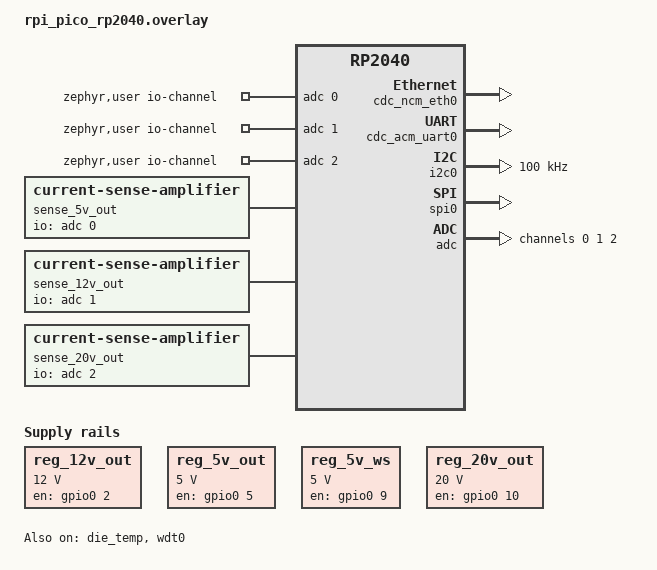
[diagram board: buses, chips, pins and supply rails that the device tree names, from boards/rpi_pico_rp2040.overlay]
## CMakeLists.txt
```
# SPDX-License-Identifier: Apache-2.0

cmake_minimum_required(VERSION 3.20.0)

find_package(Zephyr REQUIRED HINTS $ENV{ZEPHYR_BASE})
project(agent_debugboard)

zephyr_linker_sources(SECTIONS sections-rom.ld)
zephyr_linker_section(NAME http_resource_desc_debugboard_http_service
  KVMA RAM_REGION GROUP RODATA_REGION)

target_sources(app PRIVATE
  src/main.c
  src/debugboard_control.c
  src/debugboard_http.c
  src/debugboard_monitoring.c
  src/debugboard_model.c
  src/debugboard_network.c
  src/debugboard_shell.c
  src/debugboard_ws.c
  src/debugboard_usb_net.c
)
```

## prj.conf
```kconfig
CONFIG_GPIO=y
CONFIG_ADC=y
CONFIG_SENSOR=y
CONFIG_CURRENT_AMP=y
CONFIG_REGULATOR=y
CONFIG_REGULATOR_FIXED=y
CONFIG_I2C=y
CONFIG_SPI=y

CONFIG_USB_DEVICE_STACK_NEXT=y
CONFIG_USBD_CDC_NCM_CLASS=y
CONFIG_USBD_CDC_ACM_CLASS=y
CONFIG_HWINFO=y
CONFIG_WATCHDOG=y

CONFIG_NETWORKING=y
CONFIG_NET_LOG=y
CONFIG_NET_L2_ETHERNET=y
CONFIG_NET_IPV4=y
CONFIG_NET_TCP=y
CONFIG_NET_SOCKETS=y
CONFIG_NET_DHCPV4_SERVER=y
CONFIG_NET_TCP_TIME_WAIT_DELAY=0
CONFIG_NET_CONFIG_SETTINGS=y
CONFIG_NET_CONFIG_AUTO_INIT=n
CONFIG_NET_CONFIG_MY_IPV4_ADDR="172.29.203.1"
CONFIG_NET_CONFIG_PEER_IPV4_ADDR="172.29.203.2"
CONFIG_NET_CONFIG_MY_IPV4_GW="172.29.203.2"
CONFIG_NET_DHCPV4_SERVER_ADDR_COUNT=1
CONFIG_NET_DHCPV4_SERVER_OPTION_ROUTER=y
CONFIG_NET_DHCPV4_SERVER_OPTION_DNS_ADDRESS="172.29.203.1"
CONFIG_NET_PKT_RX_COUNT=16
CONFIG_NET_PKT_TX_COUNT=16
CONFIG_NET_BUF_RX_COUNT=64
CONFIG_NET_BUF_TX_COUNT=64
CONFIG_NET_BUF_DATA_SIZE=256
CONFIG_NET_MAX_CONTEXTS=16
CONFIG_NET_MAX_CONN=16
CONFIG_NET_TC_TX_COUNT=1

CONFIG_HTTP_SERVER=y
CONFIG_HTTP_SERVER_VERSION_1=y
CONFIG_HTTP_SERVER_VERSION_2=n
CONFIG_HTTP_SERVER_VERSION_3=n
CONFIG_HTTP_SERVER_MAX_CLIENTS=6
CONFIG_HTTP_SERVER_CLIENT_BUFFER_SIZE=512
CONFIG_HTTP_SERVER_MAX_URL_LENGTH=128
CONFIG_HTTP_SERVER_MAX_HEADER_LEN=128
CONFIG_HTTP_SERVER_WEBSOCKET=y
CONFIG_RPI_PICO_TEMP=y
CONFIG_CPU_LOAD=y
CONFIG_SYS_HEAP_RUNTIME_STATS=y
CONFIG_THREAD_RUNTIME_STATS=y

CONFIG_JSON_LIBRARY=y
CONFIG_TEST_RANDOM_GENERATOR=y

CONFIG_SERIAL=y
CONFIG_ZVFS_OPEN_MAX=32
CONFIG_ZVFS_EVENTFD_MAX=8
CONFIG_ZVFS_POLL_MAX=16
CONFIG_CONSOLE=y
CONFIG_UART_CONSOLE=y
CONFIG_UART_INTERRUPT_DRIVEN=y
CONFIG_UART_LINE_CTRL=y
CONFIG_SHELL=y
CONFIG_SHELL_BACKEND_SERIAL=y
CONFIG_SHELL_PROMPT_UART="debugboard:~$ "

CONFIG_LOG=y
CONFIG_LOG_DEFAULT_LEVEL=2
CONFIG_BOOT_BANNER=n
CONFIG_MAIN_STACK_SIZE=3072
CONFIG_SYSTEM_WORKQUEUE_STACK_SIZE=2048
CONFIG_INIT_STACKS=y
CONFIG_THREAD_NAME=y
CONFIG_STACK_SENTINEL=y
CONFIG_HEAP_MEM_POOL_SIZE=8192
```

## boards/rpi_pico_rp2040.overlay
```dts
#include <zephyr/dt-bindings/adc/adc.h>
#include <zephyr/dt-bindings/gpio/gpio.h>
#include <zephyr/dt-bindings/i2c/i2c.h>
#include <zephyr/dt-bindings/pinctrl/rpi-pico-rp2040-pinctrl.h>

/ {
	chosen {
		zephyr,console = &cdc_acm_uart0;
		zephyr,shell-uart = &cdc_acm_uart0;
		agent-debugboard-temperature-sensor = &die_temp;
	};

	zephyr,user {
		/*
		 * Raw ADC taps for current monitor debugging.
		 * GP26/ADC0 = S_C_5V, GP27/ADC1 = S_C_12V, GP28/ADC2 = S_C_20V.
		 */
		io-channels = <&adc 0>, <&adc 1>, <&adc 2>;
	};

	reg_12v_out: regulator-12v-out {
		compatible = "regulator-fixed";
		regulator-name = "12v_out";
		regulator-min-microvolt = <12000000>;
		regulator-max-microvolt = <12000000>;
		enable-gpios = <&gpio0 2 GPIO_ACTIVE_HIGH>;
		regulator-boot-off;
	};

	reg_5v_out: regulator-5v-out {
		compatible = "regulator-fixed";
		regulator-name = "5v_out";
		regulator-min-microvolt = <5000000>;
		regulator-max-microvolt = <5000000>;
		enable-gpios = <&gpio0 5 GPIO_ACTIVE_HIGH>;
		regulator-boot-off;
	};

	reg_5v_ws: regulator-5v-ws {
		compatible = "regulator-fixed";
		regulator-name = "5v_ws";
		regulator-min-microvolt = <5000000>;
		regulator-max-microvolt = <5000000>;
		enable-gpios = <&gpio0 9 GPIO_ACTIVE_HIGH>;
		regulator-boot-off;
	};

	reg_20v_out: regulator-20v-out {
		compatible = "regulator-fixed";
		regulator-name = "20v_out";
		regulator-min-microvolt = <20000000>;
		regulator-max-microvolt = <20000000>;
		enable-gpios = <&gpio0 10 GPIO_ACTIVE_HIGH>;
		regulator-boot-off;
	};

	/*
	 * Board current monitors use INA139 with a 10 mOhm shunt and a
	 * 51 kOhm output load resistor. The INA139 datasheet transfer function is:
	 *
	 *   Vout = Is * Rs * RL / 1 kOhm
	 *
	 * The real hardware gain is therefore RL / 1 kOhm = 51, giving an
	 * effective scale of 10 mOhm * 51 = 510 mV/A.
	 *
	 * Represent that directly in Zephyr's current-sense-amplifier binding and
	 * keep additional board-specific calibration out of the host path.
	 */
	sense_5v_out: current-sense-5v-out {
		compatible = "current-sense-amplifier";
		io-channels = <&adc 0>;
		sense-resistor-milli-ohms = <10>;
		sense-gain-mult = <51>;
		sense-gain-div = <1>;
	};

	sense_12v_out: current-sense-12v-out {
		compatible = "current-sense-amplifier";
		io-channels = <&adc 1>;
		sense-resistor-milli-ohms = <10>;
		sense-gain-mult = <51>;
		sense-gain-div = <1>;
	};

	sense_20v_out: current-sense-20v-out {
		compatible = "current-sense-amplifier";
		io-channels = <&adc 2>;
		sense-resistor-milli-ohms = <10>;
		sense-gain-mult = <51>;
		sense-gain-div = <1>;
	};
};

&zephyr_udc0 {
	cdc_ncm_eth0: cdc_ncm_eth0 {
		compatible = "zephyr,cdc-ncm-ethernet";
		remote-mac-address = "00005E005301";
		local-mac-address = [ 02 2f e3 db 00 01 ];
	};

	cdc_acm_uart0: cdc_acm_uart0 {
		compatible = "zephyr,cdc-acm-uart";
		label = "Agent DebugBoard USB CDC ACM";
	};
};

/* The board uses GP05 for 5V_OUT enable. Do not keep Pico's default I2C0
 * assignment on GP04/GP05.
 */
&pinctrl {
	i2c0_debugboard_j17: i2c0_debugboard_j17 {
		group1 {
			pinmux = <I2C0_SDA_P20>, <I2C0_SCL_P21>;
			input-enable;
			input-schmitt-enable;
		};
	};
};

&i2c0 {
	status = "okay";
	clock-frequency = <I2C_BITRATE_STANDARD>;
	pinctrl-0 = <&i2c0_debugboard_j17>;
	pinctrl-names = "default";
};

&spi0 {
	status = "okay";
	pinctrl-0 = <&spi0_default>;
	pinctrl-names = "default";
};

&adc {
	status = "okay";
	#address-cells = <1>;
	#size-cells = <0>;

	channel@0 {
		reg = <0>;
		zephyr,gain = "ADC_GAIN_1";
		zephyr,reference = "ADC_REF_INTERNAL";
		zephyr,acquisition-time = <ADC_ACQ_TIME_DEFAULT>;
		zephyr,resolution = <12>;
	};

	channel@1 {
		reg = <1>;
		zephyr,gain = "ADC_GAIN_1";
		zephyr,reference = "ADC_REF_INTERNAL";
		zephyr,acquisition-time = <ADC_ACQ_TIME_DEFAULT>;
		zephyr,resolution = <12>;
	};

	channel@2 {
		reg = <2>;
		zephyr,gain = "ADC_GAIN_1";
		zephyr,reference = "ADC_REF_INTERNAL";
		zephyr,acquisition-time = <ADC_ACQ_TIME_DEFAULT>;
		zephyr,resolution = <12>;
	};
};

&die_temp {
	status = "okay";
};

&wdt0 {
	status = "okay";
};
```

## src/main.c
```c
/*
 * SPDX-License-Identifier: Apache-2.0
 *
 * agent-debugboard RP2040 controller firmware.
 */

#include "debugboard_control.h"
#include "debugboard_http.h"
#include "debugboard_network.h"
#include "debugboard_shell.h"
#include "debugboard_ws.h"
#include "debugboard_usb_net.h"

#include <zephyr/kernel.h>
#include <zephyr/logging/log.h>
#include <zephyr/logging/log_ctrl.h>
#include <zephyr/net/http/server.h>
#include <zephyr/sys/printk.h>
#include <zephyr/fatal.h>
#include <zephyr/toolchain.h>

LOG_MODULE_REGISTER(agent_debugboard, LOG_LEVEL_INF);

static const char *debugboard_fatal_reason_str(unsigned int reason)
{
	switch (reason) {
	case K_ERR_CPU_EXCEPTION:
		return "CPU exception";
	case K_ERR_SPURIOUS_IRQ:
		return "spurious IRQ";
	case K_ERR_STACK_CHK_FAIL:
		return "stack overflow";
	case K_ERR_KERNEL_OOPS:
		return "kernel oops";
	case K_ERR_KERNEL_PANIC:
		return "kernel panic";
	default:
		return "unknown";
	}
}

void k_sys_fatal_error_handler(unsigned int reason, const struct arch_esf *esf)
{
	const char *thread_name = k_thread_name_get(k_current_get());

	if (thread_name == NULL || thread_name[0] == '\0') {
		thread_name = "?";
	}

	printk("FATAL: %s (code=%u) thread=%s uptime=%lldms\n",
	       debugboard_fatal_reason_str(reason), reason, thread_name,
	       (long long)k_uptime_get());

	LOG_PANIC();
	LOG_ERR("Halting system");
	k_fatal_halt(reason);
	CODE_UNREACHABLE;
}

int main(void)
{
	int ret;

	debugboard_watchdog_boot_check();

	ret = debugboard_control_init();
	if (ret < 0) {
		LOG_ERR("Board control init failed: %d", ret);
		return 0;
	}

	debugboard_http_init();
	ret = debugboard_ws_init();
	if (ret < 0) {
		LOG_ERR("WebSocket init failed: %d", ret);
		return 0;
	}

	ret = debugboard_usb_net_init();
	if (ret < 0) {
		LOG_ERR("USB NCM init failed: %d", ret);
		return 0;
	}

	ret = debugboard_network_init();
	if (ret < 0) {
		LOG_ERR("Network service init failed: %d", ret);
		return 0;
	}

	ret = http_server_start();
	if (ret < 0) {
		LOG_ERR("HTTP server start failed: %d", ret);
		return 0;
	}

	debugboard_shell_watchdog_start();

	ret = debugboard_watchdog_supervisor_start();
	if (ret < 0) {
		LOG_ERR("Watchdog supervisor start failed: %d", ret);
		return 0;
	}

	LOG_INF("agent-debugboard controller ready over NCM HTTP with CDC ACM fallback");

	while (true) {
		debugboard_watchdog_note_core_alive();
		k_sleep(K_MSEC(250));
	}
}
```

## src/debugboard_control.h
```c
/*
 * SPDX-License-Identifier: Apache-2.0
 */

#ifndef AGENT_DEBUGBOARD_CONTROL_H_
#define AGENT_DEBUGBOARD_CONTROL_H_

#include "debugboard_model.h"

#include <stdbool.h>
#include <stdint.h>

#include <zephyr/drivers/sensor.h>

enum debugboard_sd_route {
	DEBUGBOARD_SD_ROUTE_TARGET = 0,
	DEBUGBOARD_SD_ROUTE_USB_READER = 1,
};

enum debugboard_usb_route {
	DEBUGBOARD_USB_ROUTE_PC = 0,
	DEBUGBOARD_USB_ROUTE_TARGET = 1,
};

struct debugboard_current_sample {
	bool rail_enabled;
	bool raw_available;
	int32_t raw;
	int32_t mv;
	int32_t current_ua;
	struct sensor_value value;
};

struct debugboard_watchdog_status {
	bool supported;
	bool armed;
	bool automatic;
	bool healthy;
	uint32_t timeout_ms;
	bool bootloader_on_timeout;
	const char *failing_service;
};

void debugboard_watchdog_boot_check(void);
int debugboard_control_init(void);
int debugboard_watchdog_supervisor_start(void);

const char *debugboard_json_schema(void);
const char *debugboard_reserved_gpios(void);
const char *debugboard_usb_mode(void);

bool debugboard_power_output_enabled(const struct debugboard_rail_desc *rail);
int debugboard_power_output_set(const struct debugboard_rail_desc *rail, bool enabled);

enum debugboard_sd_route debugboard_sd_route_get(void);
const char *debugboard_sd_route_name(void);
int debugboard_sd_route_set(enum debugboard_sd_route route);

enum debugboard_usb_route debugboard_usb_route_get(void);
const char *debugboard_usb_route_name(void);
int debugboard_usb_route_set(enum debugboard_usb_route route);

int debugboard_current_read(const struct debugboard_current_desc *current,
				   struct debugboard_current_sample *sample);

int debugboard_gpio_get(const struct debugboard_safe_gpio_desc *desc, int *value);
int debugboard_gpio_set_output(const struct debugboard_safe_gpio_desc *desc, bool value);
int debugboard_gpio_set_input(const struct debugboard_safe_gpio_desc *desc);
const char *debugboard_safe_gpio_direction_name(size_t index);

void debugboard_watchdog_status_get(struct debugboard_watchdog_status *status);
void debugboard_watchdog_note_core_alive(void);
void debugboard_watchdog_note_cmdline_alive(void);
void debugboard_watchdog_note_ws_alive(void);
void debugboard_watchdog_note_ws_client_active(bool active);

int debugboard_bootloader_now(void);

#endif /* AGENT_DEBUGBOARD_CONTROL_H_ */
```

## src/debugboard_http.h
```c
/*
 * SPDX-License-Identifier: Apache-2.0
 */

#ifndef AGENT_DEBUGBOARD_HTTP_H_
#define AGENT_DEBUGBOARD_HTTP_H_

#include <stdint.h>

void debugboard_http_init(void);
void debugboard_http_publish_state_change(void);
int debugboard_http_listener_fd(void);
uint16_t debugboard_http_listener_port(void);
const char *debugboard_http_listener_host(void);

#endif /* AGENT_DEBUGBOARD_HTTP_H_ */
```

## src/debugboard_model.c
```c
/*
 * SPDX-License-Identifier: Apache-2.0
 */

#include "debugboard_model.h"

#include <ctype.h>
#include <errno.h>
#include <stdio.h>
#include <stdlib.h>
#include <string.h>

#define ARRAY_SIZE_LOCAL(array) (sizeof(array) / sizeof((array)[0]))
#define INA139_SENSOR "INA139"

const struct debugboard_rail_desc debugboard_rails[] = {
	{
		.name = "12v_out",
		.signal = "GP02_12V_EN",
		.pin = 2,
		.controllable = true,
	},
	{
		.name = "5v_out",
		.signal = "GP05_5V_EN",
		.pin = 5,
		.controllable = true,
	},
	{
		.name = "5v_ws",
		.signal = "GP09_5V_WS_EN",
		.pin = 9,
		.controllable = true,
	},
	{
		.name = "20v_out",
		.signal = "GP10_20V_EN",
		.pin = 10,
		.controllable = true,
	},
};

const size_t debugboard_rail_count = ARRAY_SIZE_LOCAL(debugboard_rails);

const struct debugboard_current_desc debugboard_currents[] = {
	{
		.name = "5v_out",
		.signal = "S_C_5V",
		.sensor = INA139_SENSOR,
		.adc_index = 0,
	},
	{
		.name = "12v_out",
		.signal = "S_C_12V",
		.sensor = INA139_SENSOR,
		.adc_index = 1,
	},
	{
		.name = "20v_out",
		.signal = "S_C_20V",
		.sensor = INA139_SENSOR,
		.adc_index = 2,
	},
};

const size_t debugboard_current_count = ARRAY_SIZE_LOCAL(debugboard_currents);

const struct debugboard_safe_gpio_desc debugboard_safe_gpios[] = {
	{ .pin = 4,  .note = "CON_MAS" },
	{ .pin = 7,  .note = "CON_REST" },
	{ .pin = 8,  .note = "CON_USER" },
	{ .pin = 13, .note = "J17_PIN1" },
	{ .pin = 14, .note = "J17_PIN3" },
	{ .pin = 15, .note = "J17_PIN5" },
	{ .pin = 16, .note = "J17_PIN7" },
	{ .pin = 17, .note = "J17_PIN9" },
	{ .pin = 18, .note = "J17_PIN11" },
	{ .pin = 19, .note = "J17_PIN2" },
	{ .pin = 20, .note = "J17_PIN4" },
	{ .pin = 21, .note = "J17_PIN6" },
	{ .pin = 22, .note = "J17_PIN8" },
	{ .pin = 23, .note = "J17_PIN10" },
	{ .pin = 24, .note = "J17_PIN12" },
};

const size_t debugboard_safe_gpio_count = ARRAY_SIZE_LOCAL(debugboard_safe_gpios);

static bool streq(const char *a, const char *b)
{
	return strcmp(a, b) == 0;
}

bool debugboard_parse_bool_arg(const char *arg, bool *value)
{
	if (arg == NULL || value == NULL) {
		return false;
	}

	if (streq(arg, "1") || streq(arg, "on") || streq(arg, "enable") ||
	    streq(arg, "enabled")) {
		*value = true;
		return true;
	}

	if (streq(arg, "0") || streq(arg, "off") || streq(arg, "disable") ||
	    streq(arg, "disabled")) {
		*value = false;
		return true;
	}

	return false;
}

bool debugboard_parse_gpio_pin(const char *arg, uint8_t *pin)
{
	const char *p;
	char *end = NULL;
	unsigned long parsed;

	if (arg == NULL || pin == NULL) {
		return false;
	}

	p = arg;
	if ((arg[0] == 'G' || arg[0] == 'g') && (arg[1] == 'P' || arg[1] == 'p')) {
		p = &arg[2];
	}

	if (*p == '\0') {
		return false;
	}

	for (const char *s = p; *s != '\0'; s++) {
		if (!isdigit((unsigned char)*s)) {
			return false;
		}
	}

	errno = 0;
	parsed = strtoul(p, &end, 10);
	if (errno != 0 || end == p || *end != '\0' || parsed > 29) {
		return false;
	}

	*pin = (uint8_t)parsed;
	return true;
}

bool debugboard_format_gpio_name(uint8_t pin, char *buf, size_t len)
{
	int written;

	if (buf == NULL || len == 0) {
		return false;
	}

	written = snprintf(buf, len, "GP%u", (unsigned int)pin);
	return written > 0 && (size_t)written < len;
}

const struct debugboard_rail_desc *debugboard_find_rail(const char *name)
{
	if (name == NULL) {
		return NULL;
	}

	for (size_t i = 0; i < debugboard_rail_count; i++) {
		if (streq(name, debugboard_rails[i].name) ||
		    streq(name, debugboard_rails[i].signal)) {
			return &debugboard_rails[i];
		}
	}

	return NULL;
}

const struct debugboard_current_desc *debugboard_find_current(const char *name)
{
	if (name == NULL) {
		return NULL;
	}

	for (size_t i = 0; i < debugboard_current_count; i++) {
		if (streq(name, debugboard_currents[i].name) ||
		    streq(name, debugboard_currents[i].signal)) {
			return &debugboard_currents[i];
		}
	}

	return NULL;
}

const struct debugboard_safe_gpio_desc *debugboard_find_safe_gpio_by_pin(uint8_t pin)
{
	for (size_t i = 0; i < debugboard_safe_gpio_count; i++) {
		if (debugboard_safe_gpios[i].pin == pin) {
			return &debugboard_safe_gpios[i];
		}
	}

	return NULL;
}

const struct debugboard_safe_gpio_desc *debugboard_find_safe_gpio_by_identifier(const char *identifier)
{
	uint8_t pin;

	if (identifier == NULL) {
		return NULL;
	}

	if (debugboard_parse_gpio_pin(identifier, &pin)) {
		return debugboard_find_safe_gpio_by_pin(pin);
	}

	for (size_t i = 0; i < debugboard_safe_gpio_count; i++) {
		if (streq(identifier, debugboard_safe_gpios[i].note)) {
			return &debugboard_safe_gpios[i];
		}
	}

	return NULL;
}
```

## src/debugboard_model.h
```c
/*
 * SPDX-License-Identifier: Apache-2.0
 */

#ifndef AGENT_DEBUGBOARD_MODEL_H_
#define AGENT_DEBUGBOARD_MODEL_H_

#include <stdbool.h>
#include <stddef.h>
#include <stdint.h>

struct debugboard_rail_desc {
	const char *name;
	const char *signal;
	uint8_t pin;
	bool controllable;
};

struct debugboard_current_desc {
	const char *name;
	const char *signal;
	const char *sensor;
	size_t adc_index;
};

struct debugboard_safe_gpio_desc {
	uint8_t pin;
	const char *note;
};

#define DEBUGBOARD_GPIO_NAME_BUFSZ 5

extern const struct debugboard_rail_desc debugboard_rails[];
extern const size_t debugboard_rail_count;

extern const struct debugboard_current_desc debugboard_currents[];
extern const size_t debugboard_current_count;

extern const struct debugboard_safe_gpio_desc debugboard_safe_gpios[];
extern const size_t debugboard_safe_gpio_count;

bool debugboard_parse_bool_arg(const char *arg, bool *value);
bool debugboard_parse_gpio_pin(const char *arg, uint8_t *pin);
bool debugboard_format_gpio_name(uint8_t pin, char *buf, size_t len);

const struct debugboard_rail_desc *debugboard_find_rail(const char *name);
const struct debugboard_current_desc *debugboard_find_current(const char *name);
const struct debugboard_safe_gpio_desc *debugboard_find_safe_gpio_by_pin(uint8_t pin);
const struct debugboard_safe_gpio_desc *debugboard_find_safe_gpio_by_identifier(const char *identifier);

#endif /* AGENT_DEBUGBOARD_MODEL_H_ */
```

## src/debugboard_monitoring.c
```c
/*
 * SPDX-License-Identifier: Apache-2.0
 */

#include "debugboard_monitoring.h"

#include <errno.h>
#include <string.h>

#include <zephyr/device.h>
#include <zephyr/debug/cpu_load.h>
#include <zephyr/devicetree.h>
#include <zephyr/kernel.h>
#include <zephyr/sys/util.h>

#if defined(CONFIG_SENSOR)
#include <zephyr/drivers/sensor.h>
#endif

#if defined(CONFIG_SYS_HEAP_RUNTIME_STATS)
#include <zephyr/sys/mem_stats.h>
#include <zephyr/sys/sys_heap.h>
#endif

#if defined(CONFIG_SYS_HEAP_RUNTIME_STATS) && defined(CONFIG_HEAP_MEM_POOL_SIZE) && \
	(CONFIG_HEAP_MEM_POOL_SIZE > 0)
extern struct k_heap _system_heap;
#endif

#if defined(CONFIG_SENSOR) && DT_HAS_CHOSEN(agent_debugboard_temperature_sensor)
#define DEBUGBOARD_TEMPERATURE_NODE DT_CHOSEN(agent_debugboard_temperature_sensor)
static const struct device *const debugboard_temperature_device =
	DEVICE_DT_GET(DEBUGBOARD_TEMPERATURE_NODE);
#endif

static struct k_mutex debugboard_monitoring_lock;
#if defined(CONFIG_CPU_LOAD)
static bool debugboard_cpu_previous_valid;
static int64_t debugboard_cpu_previous_uptime_ms;
#endif

static void debugboard_monitoring_temperature_get(
	struct debugboard_monitoring_temperature *temperature)
{
	temperature->available = false;
	temperature->reason = "no_zephyr_temperature_device";
	temperature->source = "";
	temperature->celsius_val1 = 0;
	temperature->celsius_val2 = 0;
	temperature->error = 0;

#if defined(CONFIG_SENSOR) && DT_HAS_CHOSEN(agent_debugboard_temperature_sensor)
	struct sensor_value value;
	int ret;

	if (!device_is_ready(debugboard_temperature_device)) {
		temperature->reason = "device_not_ready";
		return;
	}

	ret = sensor_sample_fetch(debugboard_temperature_device);
	if (ret < 0) {
		temperature->reason = "sample_fetch_failed";
		temperature->error = ret;
		return;
	}

	ret = sensor_channel_get(debugboard_temperature_device, SENSOR_CHAN_DIE_TEMP, &value);
	if (ret < 0) {
		temperature->reason = ret == -ENOTSUP ? "temperature_channel_unsupported" :
					       "temperature_read_failed";
		temperature->error = ret;
		return;
	}

	temperature->available = true;
	temperature->reason = "";
	temperature->source = debugboard_temperature_device->name;
	temperature->celsius_val1 = value.val1;
	temperature->celsius_val2 = value.val2;
#elif !defined(CONFIG_SENSOR)
	temperature->reason = "sensor_subsystem_disabled";
#endif
}

static void debugboard_monitoring_heap_get(struct debugboard_monitoring_heap *heap)
{
	heap->available = false;
	heap->reason = "runtime_stats_disabled";
	heap->source = "";
	heap->free_bytes = 0U;
	heap->allocated_bytes = 0U;
	heap->max_allocated_bytes = 0U;
	heap->total_bytes = 0U;
	heap->error = 0;

#if defined(CONFIG_SYS_HEAP_RUNTIME_STATS) && defined(CONFIG_HEAP_MEM_POOL_SIZE) && \
	(CONFIG_HEAP_MEM_POOL_SIZE > 0)
	struct sys_memory_stats stats;
	int ret;

	ret = sys_heap_runtime_stats_get(&_system_heap.heap, &stats);
	if (ret < 0) {
		heap->reason = "heap_stats_read_failed";
		heap->error = ret;
		return;
	}

	heap->available = true;
	heap->reason = "";
	heap->source = "system_heap";
	heap->free_bytes = stats.free_bytes;
	heap->allocated_bytes = stats.allocated_bytes;
	heap->max_allocated_bytes = stats.max_allocated_bytes;
	heap->total_bytes = stats.free_bytes + stats.allocated_bytes;
#elif defined(CONFIG_SYS_HEAP_RUNTIME_STATS)
	heap->reason = "system_heap_unavailable";
#endif
}

static void debugboard_monitoring_runtime_get(struct debugboard_monitoring_runtime *runtime)
{
	runtime->available = false;
	runtime->reason = "uptime_unavailable";
	runtime->uptime_ms = 0;
	runtime->uptime_seconds = 0U;
	runtime->error = 0;

	runtime->available = true;
	runtime->reason = "";
	runtime->uptime_ms = k_uptime_get();
	runtime->uptime_seconds = (uint64_t)(runtime->uptime_ms / 1000);
}

static void debugboard_monitoring_cpu_get(struct debugboard_monitoring_cpu *cpu)
{
	cpu->available = false;
	cpu->reason = "thread_runtime_stats_disabled";
	cpu->active_pct_x100 = 0U;
	cpu->window_ms = 0U;
	cpu->busy_cycles_delta = 0U;
	cpu->total_cycles_delta = 0U;
	cpu->error = 0;

	uint32_t load_per_mille;
	int64_t uptime_ms;
	uint32_t window_ms;

#if defined(CONFIG_CPU_LOAD)
	load_per_mille = cpu_load_get(true);

	uptime_ms = k_uptime_get();
	if (!debugboard_cpu_previous_valid) {
		debugboard_cpu_previous_valid = true;
		debugboard_cpu_previous_uptime_ms = uptime_ms;
		cpu->reason = "insufficient_runtime_window";
		return;
	}
	window_ms = uptime_ms > debugboard_cpu_previous_uptime_ms ?
		(uint32_t)(uptime_ms - debugboard_cpu_previous_uptime_ms) : 0U;
	debugboard_cpu_previous_uptime_ms = uptime_ms;
	if (window_ms == 0U) {
		cpu->reason = "insufficient_runtime_window";
		return;
	}

	cpu->available = true;
	cpu->reason = "";
	cpu->busy_cycles_delta = 0U;
	cpu->total_cycles_delta = 0U;
	cpu->active_pct_x100 = load_per_mille * 10U;
	cpu->window_ms = window_ms;
#else
	cpu->reason = "cpu_load_disabled";
#endif
}

void debugboard_monitoring_diagnostics_get(struct debugboard_monitoring_diagnostics *diagnostics)
{
	if (diagnostics == NULL) {
		return;
	}

	memset(diagnostics, 0, sizeof(*diagnostics));
	debugboard_monitoring_heap_get(&diagnostics->heap);
	debugboard_monitoring_runtime_get(&diagnostics->runtime);
}

void debugboard_monitoring_snapshot_get(struct debugboard_monitoring_snapshot *snapshot)
{
	if (snapshot == NULL) {
		return;
	}

	memset(snapshot, 0, sizeof(*snapshot));
	debugboard_monitoring_temperature_get(&snapshot->temperature);
	debugboard_monitoring_heap_get(&snapshot->heap);
	debugboard_monitoring_runtime_get(&snapshot->runtime);

	k_mutex_lock(&debugboard_monitoring_lock, K_FOREVER);
	debugboard_monitoring_cpu_get(&snapshot->cpu);
	k_mutex_unlock(&debugboard_monitoring_lock);
}

static int debugboard_monitoring_init(void)
{
	k_mutex_init(&debugboard_monitoring_lock);
	return 0;
}

SYS_INIT(debugboard_monitoring_init, APPLICATION, CONFIG_APPLICATION_INIT_PRIORITY);
```

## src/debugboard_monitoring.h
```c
/*
 * SPDX-License-Identifier: Apache-2.0
 */

#ifndef AGENT_DEBUGBOARD_MONITORING_H_
#define AGENT_DEBUGBOARD_MONITORING_H_

#include <stdbool.h>
#include <stddef.h>
#include <stdint.h>

struct debugboard_monitoring_temperature {
	bool available;
	const char *reason;
	const char *source;
	int32_t celsius_val1;
	int32_t celsius_val2;
	int error;
};

struct debugboard_monitoring_heap {
	bool available;
	const char *reason;
	const char *source;
	size_t free_bytes;
	size_t allocated_bytes;
	size_t max_allocated_bytes;
	size_t total_bytes;
	int error;
};

struct debugboard_monitoring_runtime {
	bool available;
	const char *reason;
	int64_t uptime_ms;
	uint64_t uptime_seconds;
	int error;
};

struct debugboard_monitoring_cpu {
	bool available;
	const char *reason;
	uint32_t active_pct_x100;
	uint32_t window_ms;
	uint64_t busy_cycles_delta;
	uint64_t total_cycles_delta;
	int error;
};

struct debugboard_monitoring_snapshot {
	struct debugboard_monitoring_temperature temperature;
	struct debugboard_monitoring_heap heap;
	struct debugboard_monitoring_runtime runtime;
	struct debugboard_monitoring_cpu cpu;
};

struct debugboard_monitoring_diagnostics {
	struct debugboard_monitoring_heap heap;
	struct debugboard_monitoring_runtime runtime;
};

void debugboard_monitoring_diagnostics_get(struct debugboard_monitoring_diagnostics *diagnostics);
void debugboard_monitoring_snapshot_get(struct debugboard_monitoring_snapshot *snapshot);

#endif /* AGENT_DEBUGBOARD_MONITORING_H_ */
```

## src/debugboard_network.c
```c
/*
 * SPDX-License-Identifier: Apache-2.0
 */

#include "debugboard_network.h"

#include <errno.h>

#include <zephyr/device.h>
#include <zephyr/devicetree.h>
#include <zephyr/logging/log.h>
#include <zephyr/net/dhcpv4_server.h>
#include <zephyr/net/net_if.h>
#include <zephyr/net/net_ip.h>

LOG_MODULE_REGISTER(debugboard_network, LOG_LEVEL_INF);

int debugboard_network_get_ncm_iface(struct net_if **iface)
{
	const struct device *dev = DEVICE_DT_GET(DT_NODELABEL(cdc_ncm_eth0));
	struct net_if *candidate;

	if (!device_is_ready(dev)) {
		return -ENODEV;
	}

	candidate = net_if_lookup_by_dev(dev);

	if (candidate == NULL) {
		return -ENODEV;
	}

	*iface = candidate;
	return 0;
}

int debugboard_network_init(void)
{
	struct net_if *iface;
	struct net_in_addr base_addr;
	int ret;

	ret = debugboard_network_get_ncm_iface(&iface);
	if (ret < 0) {
		LOG_ERR("No Ethernet/NCM interface found (%d)", ret);
		return ret;
	}

	ret = net_addr_pton(AF_INET, "172.29.203.10", &base_addr);
	if (ret < 0) {
		LOG_ERR("Invalid DHCP base address (%d)", ret);
		return ret;
	}

	ret = net_dhcpv4_server_start(iface, &base_addr);
	if (ret < 0) {
		LOG_ERR("Failed to start DHCPv4 server (%d)", ret);
		return ret;
	}

	LOG_INF("DHCPv4 server started from 172.29.203.10");
	return 0;
}

bool debugboard_network_has_preferred_ipv4(void)
{
	struct net_if *iface;

	if (debugboard_network_get_ncm_iface(&iface) < 0) {
		return false;
	}

	return net_if_ipv4_get_global_addr(iface, NET_ADDR_PREFERRED) != NULL;
}
```

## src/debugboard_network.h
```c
/*
 * SPDX-License-Identifier: Apache-2.0
 */

#ifndef AGENT_DEBUGBOARD_NETWORK_H_
#define AGENT_DEBUGBOARD_NETWORK_H_

#include <zephyr/net/net_if.h>

int debugboard_network_get_ncm_iface(struct net_if **iface);
bool debugboard_network_has_preferred_ipv4(void);
int debugboard_network_init(void);

#endif /* AGENT_DEBUGBOARD_NETWORK_H_ */
```

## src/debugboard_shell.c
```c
/*
 * SPDX-License-Identifier: Apache-2.0
 */

#include "debugboard_control.h"
#include "debugboard_shell.h"

#include <zephyr/kernel.h>
#include <zephyr/shell/shell.h>

static struct k_work_delayable debugboard_shell_watchdog_work;

static void debugboard_shell_watchdog_work_handler(struct k_work *work)
{
	ARG_UNUSED(work);
	debugboard_watchdog_note_cmdline_alive();
	(void)k_work_reschedule(&debugboard_shell_watchdog_work, K_MSEC(500));
}

static void debugboard_shell_bootloader_work_handler(struct k_work *work)
{
	ARG_UNUSED(work);

	(void)debugboard_bootloader_now();
}

static K_WORK_DELAYABLE_DEFINE(debugboard_shell_bootloader_work,
			       debugboard_shell_bootloader_work_handler);

void debugboard_shell_watchdog_start(void)
{
	k_work_init_delayable(&debugboard_shell_watchdog_work,
			      debugboard_shell_watchdog_work_handler);
	(void)k_work_reschedule(&debugboard_shell_watchdog_work, K_NO_WAIT);
}

static int cmd_bootloader(const struct shell *sh, size_t argc, char **argv)
{
	ARG_UNUSED(argc);
	ARG_UNUSED(argv);

	shell_print(sh, "Entering RP2040 BOOTSEL in 250 ms...");
	(void)k_work_reschedule(&debugboard_shell_bootloader_work, K_MSEC(250));

	return 0;
}

SHELL_CMD_REGISTER(bootloader, NULL,
			   "Enter RP2040 BOOTSEL for UF2/picotool flashing.",
			   cmd_bootloader);
```

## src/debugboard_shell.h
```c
/*
 * SPDX-License-Identifier: Apache-2.0
 */

#ifndef AGENT_DEBUGBOARD_SHELL_H_
#define AGENT_DEBUGBOARD_SHELL_H_

void debugboard_shell_watchdog_start(void);

#endif /* AGENT_DEBUGBOARD_SHELL_H_ */
```
